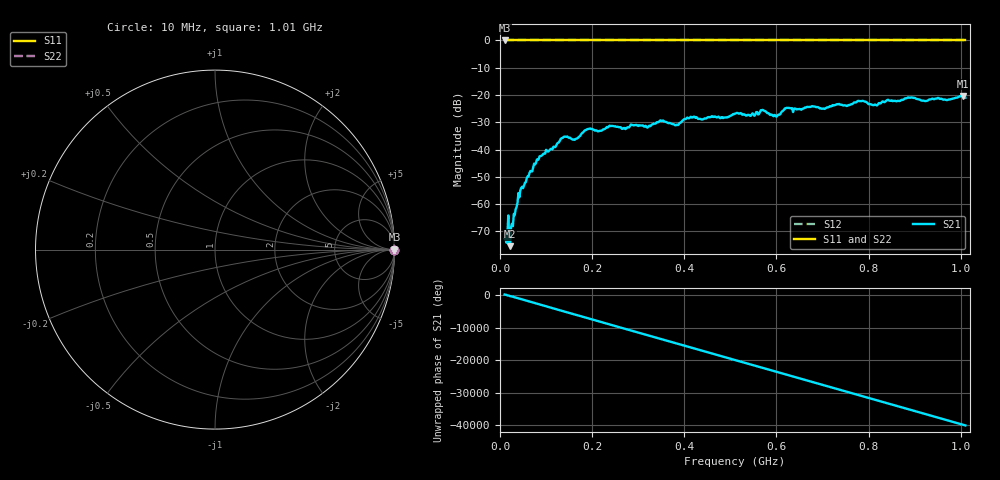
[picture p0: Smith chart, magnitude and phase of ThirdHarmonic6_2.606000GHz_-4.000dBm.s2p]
! 8/17/2025 5:40:22 AM
! C:\ANRITSUVNA\TEMP\TEMP.S2P
! CHANNEL.1
! TR.MEASUREMENT
! RAW.DATA
! RF.CORRECTION.OFF
! AVERAGING.OFF
! IF.BANDWIDTH: 5KHZ
! SWEEPTYPE:  FREQ.SWEEP(Linear)
! Reference Plane Port Info
! PORT:  PORT1  PORT2
! DISTANCE:  0  m  0  m
! TIME:  0  s  0  s
! PHASE.OFFSET:  0  deg.  0  deg.
! LOSS:  0  dB  0  dB
! REF.LOSS:  0  dB  0  dB
! REF.FREQ:  0  Hz  0  Hz
! Power Info
! POWER:  -20  dBm  -20  dBm
! EFF.POWER:  -20  dBm  -20  dBm
! SOURCE.ATTEN:  0  dB  0  dB
! TEST.ATTEN:  0  dB  0  dB
# GHZ S RI R 50.0
! FREQ.GHZ  S11RE  S11IM  S21RE  S21IM  S12RE  S12IM  S22RE  S22IM
!; PortSelection: Port_12
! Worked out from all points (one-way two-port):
!   501 points, 10 MHz to 1.01 GHz, reference 50 ohm
!   highest |S21| = -20.40 dB at 1.004 GHz (marker M1); lowest = -75.4 dB at 22 MHz (marker M2)
!   lowest |S11| = 0.0 dB at 10 MHz (marker M3)
!   |S11| at or under -10 dB: nowhere
!   |S22| runs from 0.0 to 0.0 dB; largest |S21 - S12| = 1.1
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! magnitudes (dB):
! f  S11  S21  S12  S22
! 10 MHz  0.0  -72.7  0.0  0.0
! 22 MHz  0.0  -75.4  0.0  0.0
! 24 MHz  0.0  -68.4  0.0  0.0
! 44 MHz  0.0  -55.0  0.0  0.0
! 84 MHz  0.0  -43.5  0.0  0.0
! 136 MHz  0.0  -35.8  0.0  0.0
! 162 MHz  0.0  -36.4  0.0  0.0
! 178 MHz  0.0  -33.9  0.0  0.0
! 192 MHz  0.0  -32.4  0.0  0.0
! 344 MHz  0.0  -30.0  0.0  0.0
! 384 MHz  0.0  -30.9  0.0  0.0
! 410 MHz  0.0  -28.6  0.0  0.0
! 510 MHz  0.0  -26.9  0.0  0.0
! 570 MHz  0.0  -25.4  0.0  0.0
! 598 MHz  0.0  -27.6  0.0  0.0
! 622 MHz  0.0  -24.7  0.0  0.0
! 678 MHz  0.0  -24.1  0.0  0.0
! 782 MHz  0.0  -22.2  0.0  0.0
! 814 MHz  0.0  -23.5  0.0  0.0
! 844 MHz  0.0  -22.0  0.0  0.0
! 1.004 GHz  0.0  -20.4  0.0  0.0
! 1.01 GHz  0.0  -21.0  0.0  0.0
